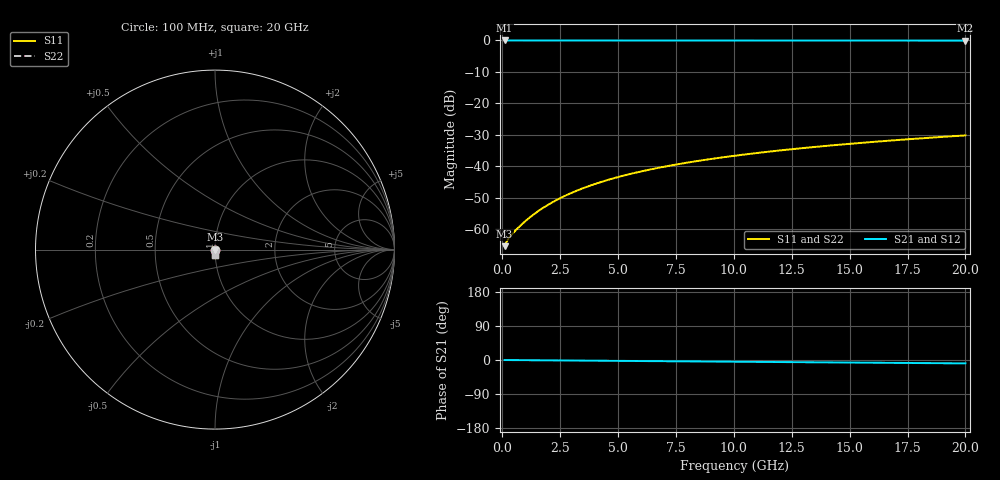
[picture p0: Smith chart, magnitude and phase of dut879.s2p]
! Touchstone file exported from HFSS 2026.1.0
!  File:  C:/ffzhzh/LocalFiles/Ansys_Project_Files/temp_train_TMRDL_879_1783157437_22436.aedt
!  Generated:  05:31:44 PM Jul  4, 2026
!  Design:  TMRDL
!  Project:  temp_train_TMRDL_879_1783157437_22436
! Variables:
!  h_bsmrdl = 2um
!  h_ox = 20um
!  h_rdl = 5um
!  h_sub = 80um
!  h_tmrdl = 5.62um
!  h_tsv = 80um
!  h_via = 3um
!  l_bsmrdl = 300um
!  l_sub = 546.99um
!  l_tmrdl = 146.99um
!  m_sub = 200um
!  pitch = 31.36um
!  r_tsv = 6um
!  s_tmrdl = 10um
!  w_bsmrdl = 18um
!  w_sub = 500um
!  w_tmrdl = 27.84um
!  x_tsv_center1 = 160.91um
!  x_tsv_center2 = 478.91um
!  x_tsv_center3 = 653.74um
!  x_tsv_center4 = 971.74um
!  x_tsv_center5 = 1146.57um
!  x_tsv_center6 = 1464.57um
# GHz S MA R 50.000000
! Terminal data exported
! Port[1] = TM_RDL1_1_T1
! Port[2] = TM_RDL1_1_T2
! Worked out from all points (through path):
!   200 points, 100 MHz to 20 GHz, reference 50 ohm
!   highest |S21| = 0.00 dB at 100 MHz (marker M1); lowest = 0.0 dB at 20 GHz (marker M2)
!   group delay of S21, straight-line fit = 1.23 ps
!   lowest |S11| = -65.5 dB at 100 MHz (marker M3), VSWR 1.00, Z = 50.1 + j0.0039 ohm
!   |S11| at or under -10 dB: start of sweep to end of sweep
!   |S22| runs from -65.5 to -30.2 dB; largest |S21 - S12| = 6.2e-15
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0.1  0.0005318 4.2  0.9995 -0.1  0.9995 -0.1  0.0005318 4.2
! Gamma 0 0 0 0
! Port Impedance 50 0 50 0
0.2  0.0006381 -1.2  0.9994 -0.1  0.9994 -0.1  0.0006381 -1.2
0.3  0.0007298 -9.5  0.9993 -0.2  0.9993 -0.2  0.0007298 -9.5
0.5  0.0008898 -24.3  0.9992 -0.2  0.9992 -0.2  0.0008898 -24.3
0.9  0.001238 -42.8  0.9991 -0.4  0.9991 -0.4  0.001238 -42.8
1.1  0.001434 -48.4  0.999 -0.5  0.999 -0.5  0.001434 -48.4
1.4  0.001752 -54.3  0.999 -0.7  0.999 -0.7  0.001752 -54.3
1.9  0.00233 -60.3  0.9988 -0.9  0.9988 -0.9  0.002331 -60.3
2.4  0.002958 -63.9  0.9986 -1.1  0.9986 -1.1  0.002958 -63.9
2.9  0.003625 -66.5  0.9985 -1.4  0.9985 -1.4  0.003625 -66.5
3.5  0.004466 -68.8  0.9983 -1.6  0.9983 -1.6  0.004466 -68.8
4.2  0.005488 -71.0  0.998 -1.9  0.998 -1.9  0.005488 -71.0
5  0.006693 -73.0  0.9978 -2.3  0.9978 -2.3  0.006693 -73.0
5.9  0.008079 -75.0  0.9975 -2.7  0.9975 -2.7  0.008079 -75.0
6.8  0.009484 -76.7  0.9973 -3.1  0.9973 -3.1  0.009484 -76.7
8.3  0.01185 -79.0  0.9969 -3.8  0.9969 -3.8  0.01185 -79.0
10.1  0.01472 -81.3  0.9965 -4.6  0.9965 -4.6  0.01472 -81.3
11.7  0.01729 -83.0  0.9962 -5.3  0.9962 -5.3  0.01729 -83.0
13.4  0.02004 -84.7  0.9958 -6.0  0.9958 -6.0  0.02004 -84.6
15  0.02264 -86.0  0.9955 -6.7  0.9955 -6.7  0.02264 -86.0
16.7  0.02541 -87.4  0.9952 -7.5  0.9952 -7.5  0.02541 -87.3
20  0.03081 -89.7  0.9946 -8.9  0.9946 -8.9  0.03081 -89.7
